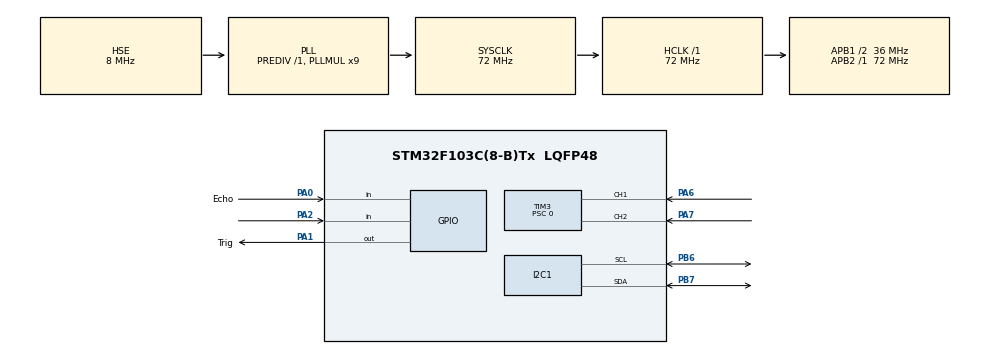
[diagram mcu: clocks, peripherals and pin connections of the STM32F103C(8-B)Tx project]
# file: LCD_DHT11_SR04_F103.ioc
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Mcu.Family=STM32F1
Mcu.Name=STM32F103C(8-B)Tx
Mcu.Package=LQFP48
NVIC.PriorityGroup=NVIC_PRIORITYGROUP_4
PA0-WKUP.GPIO_Label=Echo
PA0-WKUP.GPIO_PuPd=GPIO_PULLUP
PA0-WKUP.Signal=GPIO_Input
PA1.GPIO_Label=Trig
PA1.Signal=GPIO_Output
PA13.Mode=Serial_Wire
PA13.Signal=SYS_JTMS-SWDIO
PA14.Mode=Serial_Wire
PA14.Signal=SYS_JTCK-SWCLK
PA2.GPIO_PuPd=GPIO_PULLUP
PA2.Signal=GPIO_Input
PA6.Signal=S_TIM3_CH1
PA7.Signal=S_TIM3_CH2
PB6.Mode=I2C
PB6.Signal=I2C1_SCL
PB7.Mode=I2C
PB7.Signal=I2C1_SDA
PD0-OSC_IN.Mode=HSE-External-Oscillator
PD0-OSC_IN.Signal=RCC_OSC_IN
PD1-OSC_OUT.Mode=HSE-External-Oscillator
PD1-OSC_OUT.Signal=RCC_OSC_OUT
ProjectManager.HeapSize=0x200
ProjectManager.StackSize=0x400
ProjectManager.TargetToolchain=STM32CubeIDE
RCC.AHBFreq_Value=72000000
RCC.APB1CLKDivider=RCC_HCLK_DIV2
RCC.APB1Freq_Value=36000000
RCC.APB1TimFreq_Value=72000000
RCC.APB2Freq_Value=72000000
RCC.APB2TimFreq_Value=72000000
RCC.HCLKFreq_Value=72000000
RCC.PLLMUL=RCC_PLL_MUL9
RCC.PLLSourceVirtual=RCC_PLLSOURCE_HSE
RCC.SYSCLKFreq_VALUE=72000000
RCC.SYSCLKSource=RCC_SYSCLKSOURCE_PLLCLK
RCC.USBFreq_Value=72000000
SH.S_TIM3_CH1.0=TIM3_CH1,Encoder_Interface
SH.S_TIM3_CH2.0=TIM3_CH2,Encoder_Interface
TIM3.AutoReloadPreload=TIM_AUTORELOAD_PRELOAD_DISABLE
TIM3.EncoderMode=TIM_ENCODERMODE_TI12
TIM3.IC1Filter=0
TIM3.IC2Filter=0
TIM3.Period=0xFFFF
TIM3.Prescaler=0
TIM4.Prescaler=71
VP_TIM4_VS_ClockSourceINT.Mode=Internal
board=custom

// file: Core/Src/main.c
/* USER CODE BEGIN Header */
/**
 ******************************************************************************
 * @file           : main.c
 * @brief          : Main program body
 ******************************************************************************
 * @attention
 *
 * Copyright (c) 2023 STMicroelectronics.
 * All rights reserved.
 *
 * This software is licensed under terms that can be found in the LICENSE file
 * in the root directory of this software component.
 * If no LICENSE file comes with this software, it is provided AS-IS.
 *
 ******************************************************************************
 */
/* USER CODE END Header */
#include "main.h"

/* USER CODE BEGIN Includes */
#include "sr04.h"
#include "delay_timer.h"
#include "lcd_i2c.h"
#include "button.h"
#include "dht11.h"

#include "string.h"
#include "stdio.h"
/* USER CODE END Includes */

/* USER CODE BEGIN PD */
#define SLAVE_ADDRESS 0x27
/* USER CODE END PD */

I2C_HandleTypeDef hi2c1;

TIM_HandleTypeDef htim3;
TIM_HandleTypeDef htim4;

/* USER CODE BEGIN PV */
BUTTON_HandleTypeDef button_0;
LCD_I2C_HandleTypeDef lcd_0;
DHT11_HandleTypeDef dht_0;
SR04_HandleTypeDef sr04_0;

static uint8_t condition = 0;
static uint16_t rate = 0;
static uint8_t start = 1;
static uint32_t time_pressing = 0;

// LCD
static char data_distance[5];
static char data_temp[6];
static char data_humi[6];

// SR_04
static uint8_t distance = 0;

// DHT_11
static float temperature = 0;
static float humidity = 0;

// MODE

enum MODE_t
{
  MODE_SR_04 = 1,
  MODE_DHT11 = 2
};

static uint8_t effect = MODE_SR_04;
/* USER CODE END PV */

void SystemClock_Config(void);
static void MX_GPIO_Init(void);
static void MX_I2C1_Init(void);
static void MX_TIM3_Init(void);
static void MX_TIM4_Init(void);

/* USER CODE BEGIN 0 */
void BUTTON_Pressing_Callback(BUTTON_HandleTypeDef *ButtonX)
{
  condition = !condition;
}

void EFFECT_Handle()
{
  if (condition)
  {
    switch (effect)
    {
    case MODE_SR_04:
      if (start)
      {
        LCD_Set_Clear(&lcd_0);
      }
      start = 0;
      if ((HAL_GetTick() - time_pressing) >= 500)
      {
        distance = SR04_Get_Distance(&sr04_0);
        LCD_Set_Cursor(&lcd_0, 0, 0);
        sprintf(data_distance, "DISTANCE: %2d", distance);
        LCD_Send_String(&lcd_0, data_distance);
        time_pressing = HAL_GetTick();
      }

      break;

    case MODE_DHT11:
      if (start)
      {
        LCD_Set_Clear(&lcd_0);
      }
      start = 0;
      if ((HAL_GetTick() - time_pressing) >= 500)
      {
        DHT_Read_Temperature_Humidity(&dht_0);
        temperature = dht_0.Temp;
        humidity = dht_0.Hum;
        LCD_Set_Cursor(&lcd_0, 0, 0);
        sprintf(data_temp, "Tempe: %.2f C", temperature);

        LCD_Set_Cursor(&lcd_0, 0, 1);
        sprintf(data_humi, "Hum: %.2f %%", humidity);
        time_pressing = HAL_GetTick();
      }
      break;

    default:
      break;
    }
  }
  else
  {
    LCD_Set_Cursor(&lcd_0, 0, 0);
    LCD_Send_String(&lcd_0, "PLEASE CHOOSE MODE");
    LCD_Set_Cursor(&lcd_0, 0, 1);
    LCD_Send_String(&lcd_0, "MODE 1: SR04");
    LCD_Set_Cursor(&lcd_0, 0, 2);
    LCD_Send_String(&lcd_0, "MODE 2: DHT11");
    LCD_Set_Cursor(&lcd_0, 0, 3);
    LCD_Send_String(&lcd_0, "SELECT:");

    LCD_Set_Cursor(&lcd_0, 8, 3);
    rate = (TIM3->CNT) >> 2;
    if (rate % 2)
    {
      LCD_Send_String(&lcd_0, "SR04 ");
      start = 1;
      effect = MODE_SR_04;
    }
    else
    {
      LCD_Send_String(&lcd_0, "DHT11");
      start = 1;
      effect = MODE_DHT11;
    }
  }
}
/* USER CODE END 0 */

int main(void)
{

  /* MCU Configuration--------------------------------------------------------*/

  /* Reset of all peripherals, Initializes the Flash interface and the Systick. */
  HAL_Init();

  /* Configure the system clock */
  SystemClock_Config();

  /* Initialize all configured peripherals */
  MX_GPIO_Init();
  MX_I2C1_Init();
  MX_TIM3_Init();
  MX_TIM4_Init();
  /* USER CODE BEGIN 2 */
  DELAY_Tim_Init(&htim4);
  HAL_TIM_Encoder_Start(&htim3, TIM_CHANNEL_ALL);
  BUTTON_Init(&button_0, GPIOA, GPIO_PIN_2);
  LCD_I2C_Init(&lcd_0, &hi2c1, 20, 4, SLAVE_ADDRESS << 1);
  DHT11_Init(&dht_0, &htim4, GPIOA, GPIO_PIN_4);
  SR04_Init(&sr04_0, &htim4, GPIOA, GPIO_PIN_1, GPIOA, GPIO_PIN_0);
  /* USER CODE END 2 */

  /* Infinite loop */
  while (1)
  {

    /* USER CODE BEGIN 3 */
    BUTTON_Handle(&button_0);
    EFFECT_Handle();
  }
  /* USER CODE END 3 */
}

void SystemClock_Config(void)
{
  RCC_OscInitTypeDef RCC_OscInitStruct = {0};
  RCC_ClkInitTypeDef RCC_ClkInitStruct = {0};

  /** Initializes the RCC Oscillators according to the specified parameters
  * in the RCC_OscInitTypeDef structure.
  */
  RCC_OscInitStruct.OscillatorType = RCC_OSCILLATORTYPE_HSE;
  RCC_OscInitStruct.HSEState = RCC_HSE_ON;
  RCC_OscInitStruct.HSEPredivValue = RCC_HSE_PREDIV_DIV1;
  RCC_OscInitStruct.HSIState = RCC_HSI_ON;
  RCC_OscInitStruct.PLL.PLLState = RCC_PLL_ON;
  RCC_OscInitStruct.PLL.PLLSource = RCC_PLLSOURCE_HSE;
  RCC_OscInitStruct.PLL.PLLMUL = RCC_PLL_MUL9;
  if (HAL_RCC_OscConfig(&RCC_OscInitStruct) != HAL_OK)
  {
    Error_Handler();
  }

  /** Initializes the CPU, AHB and APB buses clocks
  */
  RCC_ClkInitStruct.ClockType = RCC_CLOCKTYPE_HCLK|RCC_CLOCKTYPE_SYSCLK
                              |RCC_CLOCKTYPE_PCLK1|RCC_CLOCKTYPE_PCLK2;
  RCC_ClkInitStruct.SYSCLKSource = RCC_SYSCLKSOURCE_PLLCLK;
  RCC_ClkInitStruct.AHBCLKDivider = RCC_SYSCLK_DIV1;
  RCC_ClkInitStruct.APB1CLKDivider = RCC_HCLK_DIV2;
  RCC_ClkInitStruct.APB2CLKDivider = RCC_HCLK_DIV1;

  if (HAL_RCC_ClockConfig(&RCC_ClkInitStruct, FLASH_LATENCY_2) != HAL_OK)
  {
    Error_Handler();
  }
}

static void MX_I2C1_Init(void)
{

  hi2c1.Instance = I2C1;
  hi2c1.Init.ClockSpeed = 100000;
  hi2c1.Init.DutyCycle = I2C_DUTYCYCLE_2;
  hi2c1.Init.OwnAddress1 = 0;
  hi2c1.Init.AddressingMode = I2C_ADDRESSINGMODE_7BIT;
  hi2c1.Init.DualAddressMode = I2C_DUALADDRESS_DISABLE;
  hi2c1.Init.OwnAddress2 = 0;
  hi2c1.Init.GeneralCallMode = I2C_GENERALCALL_DISABLE;
  hi2c1.Init.NoStretchMode = I2C_NOSTRETCH_DISABLE;
  if (HAL_I2C_Init(&hi2c1) != HAL_OK)
  {
    Error_Handler();
  }

}

static void MX_TIM3_Init(void)
{

  TIM_Encoder_InitTypeDef sConfig = {0};
  TIM_MasterConfigTypeDef sMasterConfig = {0};

  htim3.Instance = TIM3;
  htim3.Init.Prescaler = 0;
  htim3.Init.CounterMode = TIM_COUNTERMODE_UP;
  htim3.Init.Period = 0xFFFF;
  htim3.Init.ClockDivision = TIM_CLOCKDIVISION_DIV1;
  htim3.Init.AutoReloadPreload = TIM_AUTORELOAD_PRELOAD_DISABLE;
  sConfig.EncoderMode = TIM_ENCODERMODE_TI12;
  sConfig.IC1Polarity = TIM_ICPOLARITY_RISING;
  sConfig.IC1Selection = TIM_ICSELECTION_DIRECTTI;
  sConfig.IC1Prescaler = TIM_ICPSC_DIV1;
  sConfig.IC1Filter = 0;
  sConfig.IC2Polarity = TIM_ICPOLARITY_RISING;
  sConfig.IC2Selection = TIM_ICSELECTION_DIRECTTI;
  sConfig.IC2Prescaler = TIM_ICPSC_DIV1;
  sConfig.IC2Filter = 0;
  if (HAL_TIM_Encoder_Init(&htim3, &sConfig) != HAL_OK)
  {
    Error_Handler();
  }
  sMasterConfig.MasterOutputTrigger = TIM_TRGO_RESET;
  sMasterConfig.MasterSlaveMode = TIM_MASTERSLAVEMODE_DISABLE;
  if (HAL_TIMEx_MasterConfigSynchronization(&htim3, &sMasterConfig) != HAL_OK)
  {
    Error_Handler();
  }

}

static void MX_TIM4_Init(void)
{

  TIM_ClockConfigTypeDef sClockSourceConfig = {0};
  TIM_MasterConfigTypeDef sMasterConfig = {0};

  htim4.Instance = TIM4;
  htim4.Init.Prescaler = 71;
  htim4.Init.CounterMode = TIM_COUNTERMODE_UP;
  htim4.Init.Period = 65535;
  htim4.Init.ClockDivision = TIM_CLOCKDIVISION_DIV1;
  htim4.Init.AutoReloadPreload = TIM_AUTORELOAD_PRELOAD_DISABLE;
  if (HAL_TIM_Base_Init(&htim4) != HAL_OK)
  {
    Error_Handler();
  }
  sClockSourceConfig.ClockSource = TIM_CLOCKSOURCE_INTERNAL;
  if (HAL_TIM_ConfigClockSource(&htim4, &sClockSourceConfig) != HAL_OK)
  {
    Error_Handler();
  }
  sMasterConfig.MasterOutputTrigger = TIM_TRGO_RESET;
  sMasterConfig.MasterSlaveMode = TIM_MASTERSLAVEMODE_DISABLE;
  if (HAL_TIMEx_MasterConfigSynchronization(&htim4, &sMasterConfig) != HAL_OK)
  {
    Error_Handler();
  }

}

static void MX_GPIO_Init(void)
{
  GPIO_InitTypeDef GPIO_InitStruct = {0};

  /* GPIO Ports Clock Enable */
  __HAL_RCC_GPIOD_CLK_ENABLE();
  __HAL_RCC_GPIOA_CLK_ENABLE();
  __HAL_RCC_GPIOB_CLK_ENABLE();

  /*Configure GPIO pin Output Level */
  HAL_GPIO_WritePin(Trig_GPIO_Port, Trig_Pin, GPIO_PIN_RESET);

  /*Configure GPIO pins : Echo_Pin PA2 */
  GPIO_InitStruct.Pin = Echo_Pin|GPIO_PIN_2;
  GPIO_InitStruct.Mode = GPIO_MODE_INPUT;
  GPIO_InitStruct.Pull = GPIO_PULLUP;
  HAL_GPIO_Init(GPIOA, &GPIO_InitStruct);

  /*Configure GPIO pin : Trig_Pin */
  GPIO_InitStruct.Pin = Trig_Pin;
  GPIO_InitStruct.Mode = GPIO_MODE_OUTPUT_PP;
  GPIO_InitStruct.Pull = GPIO_NOPULL;
  GPIO_InitStruct.Speed = GPIO_SPEED_FREQ_LOW;
  HAL_GPIO_Init(Trig_GPIO_Port, &GPIO_InitStruct);

}

void Error_Handler(void)
{
  __disable_irq();
  while (1)
  {
  }
}
